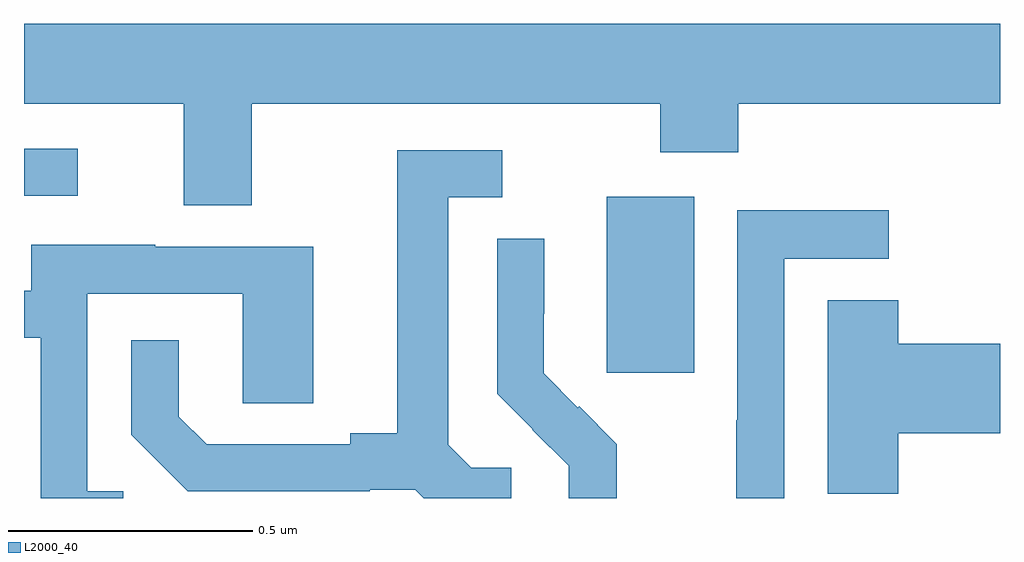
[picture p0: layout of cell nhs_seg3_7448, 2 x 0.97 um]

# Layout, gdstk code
import gdstk
lib = gdstk.Library(unit=1e-6, precision=1e-09)
def R(c, l, rs):  # rectangles x0, y0, x1, y1
    for r in rs: c.add(gdstk.rectangle(r[:2], r[2:], *l))
def P(c, l, *ps):  # polygons
    for p in ps: c.add(gdstk.Polygon(p, *l))
L2000_40 = (2000, 40)

nhs_seg3_7448 = lib.new_cell('nhs_seg3_7448')
R(nhs_seg3_7448, L2000_40, [(204.194,741.657,204.373,742.018), (203,742.02,203.11,742.116)])
P(nhs_seg3_7448, L2000_40, [(203,742.208),(203.327,742.208),(203.327,742),(203.467,742),(203.467,742.208),(204.304,742.208),(204.304,742.109),(204.464,742.109),(204.464,742.208),(205,742.208),(205,742.372),(203,742.372)],
  [(203.998,741.462),(203.916,741.462),(203.869,741.509),(203.869,742.017),(203.98,742.017),(203.98,742.113),(203.765,742.113),(203.765,741.533),(203.669,741.533),(203.669,741.51),(203.374,741.51),(203.317,741.567),(203.317,741.724),(203.22,741.724),(203.22,741.53),(203.336,741.414),(203.708,741.414),(203.708,741.417),(203.802,741.417),(203.819,741.4),(203.998,741.4)],
  [(204.558,741.891),(204.772,741.891),(204.772,741.99),(204.462,741.99),(204.462,741.56),(204.46,741.56),(204.46,741.4),(204.558,741.4)],
  [(204.215,741.511),(204.138,741.588),(204.135,741.585),(204.065,741.656),(204.065,741.778),(204.066,741.778),(204.066,741.932),(203.97,741.932),(203.97,741.614),(204.043,741.541),(204.042,741.54),(204.116,741.466),(204.116,741.4),(204.215,741.4)],
  [(203.203,741.414),(203.13,741.414),(203.13,741.819),(203.448,741.819),(203.448,741.595),(203.593,741.595),(203.593,741.915),(203.269,741.915),(203.269,741.919),(203.015,741.919),(203.015,741.825),(203,741.825),(203,741.729),(203.034,741.729),(203.034,741.4),(203.203,741.4)],
  [(204.791,741.533),(205,741.533),(205,741.716),(204.791,741.716),(204.791,741.806),(204.647,741.806),(204.647,741.409),(204.791,741.409)])

lib.write_gds('nhs_seg3_7448.gds')
